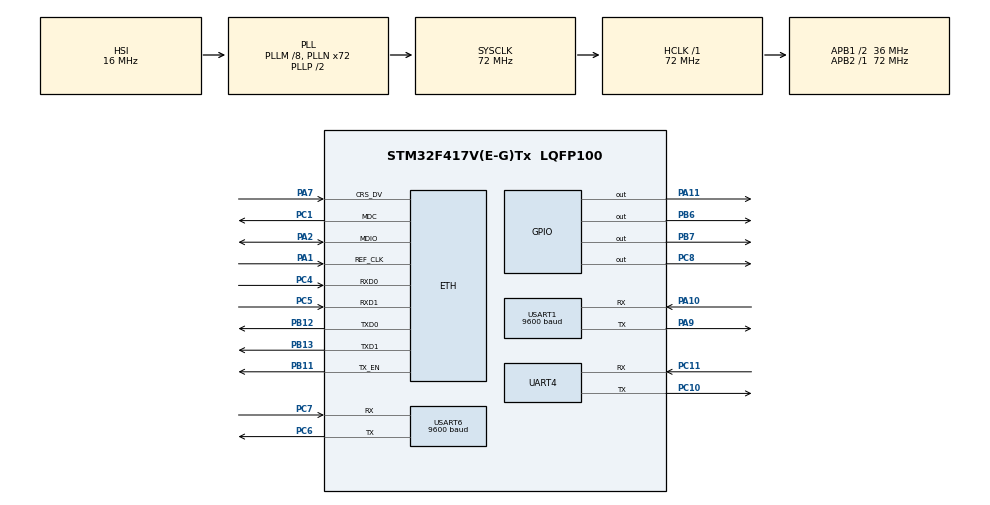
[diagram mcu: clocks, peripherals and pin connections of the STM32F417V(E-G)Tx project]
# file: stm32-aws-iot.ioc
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ETH.MediaInterface=ETH_MEDIA_INTERFACE_RMII
FREERTOS.Tasks01=defaultTask,0,1000,StartDefaultTask,Default,NULL,Static,defaultTaskBuffer,defaultTaskControlBlock
FREERTOS.configMINIMAL_STACK_SIZE=256
FREERTOS.configTOTAL_HEAP_SIZE=7000
LWIP.IP_ADDRESS=192.168.000.123
LWIP.LWIP_DHCP=1
LWIP.LWIP_NETIF_LINK_CALLBACK=1
LWIP.LWIP_SO_RCVBUF=1
LWIP.MEM_SIZE=4096
LWIP.NETMASK_ADDRESS=255.255.255.000
LWIP.PBUF_POOL_BUFSIZE=592
LWIP.TCP_CALCULATE_EFF_SEND_MSS=1
LWIP.TCP_MSS=1460
LWIP.Version=v2.0.3_Cube
MBEDTLS.MBEDTLS_KEY_EXCHANGE_ECDHE_PSK_ENABLED=1
MBEDTLS.MBEDTLS_KEY_EXCHANGE_ECDH_ECDSA_ENABLED=1
MBEDTLS.MBEDTLS_KEY_EXCHANGE_ECDH_RSA_ENABLED=1
MBEDTLS.MBEDTLS_KEY_EXCHANGE_PSK_ENABLED=1
MBEDTLS.MBEDTLS_MPI_MAX_SIZE=256
MBEDTLS.MBEDTLS_RSA_C=1
MBEDTLS.MBEDTLS_SSL_CIPHERSUITES=MBEDTLS_TLS_ECDHE_ECDSA_WITH_AES_256_GCM_SHA384,MBEDTLS_TLS_ECDHE_ECDSA_WITH_AES_128_GCM_SHA256,MBEDTLS_TLS_ECDHE_RSA_WITH_AES_128_GCM_SHA256
MBEDTLS.MBEDTLS_SSL_MAX_CONTENT_LEN=8196
Mcu.Family=STM32F4
Mcu.Name=STM32F417V(E-G)Tx
Mcu.Package=LQFP100
NVIC.ETH_IRQn=true\:5\:0\:false\:false\:true\:true\:false\:true
NVIC.PriorityGroup=NVIC_PRIORITYGROUP_4
NVIC.TIM6_DAC_IRQn=true\:0\:0\:false\:false\:true\:false\:false\:true
NVIC.TIM7_IRQn=true\:5\:0\:false\:false\:true\:true\:true\:true
NVIC.TimeBase=TIM6_DAC_IRQn
NVIC.TimeBaseIP=TIM6
NVIC.USART1_IRQn=true\:5\:0\:false\:false\:true\:true\:true\:true
NVIC.USART6_IRQn=true\:5\:0\:false\:false\:true\:true\:true\:true
PA1.Mode=RMII
PA1.Signal=ETH_REF_CLK
PA10.Mode=Asynchronous
PA10.Signal=USART1_RX
PA11.Signal=GPIO_Output
PA13.Mode=Serial_Wire
PA13.Signal=SYS_JTMS-SWDIO
PA14.Mode=Serial_Wire
PA14.Signal=SYS_JTCK-SWCLK
PA2.Mode=RMII
PA2.Signal=ETH_MDIO
PA7.Mode=RMII
PA7.Signal=ETH_CRS_DV
PA9.Mode=Asynchronous
PA9.Signal=USART1_TX
PB11.Mode=RMII
PB11.Signal=ETH_TX_EN
PB12.Mode=RMII
PB12.Signal=ETH_TXD0
PB13.Mode=RMII
PB13.Signal=ETH_TXD1
PB6.Signal=GPIO_Output
PB7.Signal=GPIO_Output
PC1.Mode=RMII
PC1.Signal=ETH_MDC
PC10.Mode=Asynchronous
PC10.Signal=UART4_TX
PC11.Mode=Asynchronous
PC11.Signal=UART4_RX
PC4.Mode=RMII
PC4.Signal=ETH_RXD0
PC5.Mode=RMII
PC5.Signal=ETH_RXD1
PC6.Mode=Asynchronous
PC6.Signal=USART6_TX
PC7.Mode=Asynchronous
PC7.Signal=USART6_RX
PC8.Signal=GPIO_Output
PH0-OSC_IN.Mode=HSE-External-Oscillator
PH0-OSC_IN.Signal=RCC_OSC_IN
PH1-OSC_OUT.Mode=HSE-External-Oscillator
PH1-OSC_OUT.Signal=RCC_OSC_OUT
ProjectManager.HeapSize=0x100
ProjectManager.StackSize=0x100
ProjectManager.TargetToolchain=STM32CubeIDE
RCC.48MHZClocksFreq_Value=48000000
RCC.AHBFreq_Value=72000000
RCC.APB1CLKDivider=RCC_HCLK_DIV2
RCC.APB1Freq_Value=36000000
RCC.APB1TimFreq_Value=72000000
RCC.APB2Freq_Value=72000000
RCC.APB2TimFreq_Value=72000000
RCC.CortexFreq_Value=72000000
RCC.HCLKFreq_Value=72000000
RCC.HSE_VALUE=8000000
RCC.HSI_VALUE=16000000
RCC.LSE_VALUE=32768
RCC.PLLM=8
RCC.PLLN=72
RCC.PLLQ=3
RCC.SYSCLKFreq_VALUE=72000000
RCC.SYSCLKSource=RCC_SYSCLKSOURCE_PLLCLK
RCC.VCOOutputFreq_Value=144000000
TIM7.AutoReloadPreload=TIM_AUTORELOAD_PRELOAD_ENABLE
TIM7.Period=49
TIM7.Prescaler=83
UART4.VirtualMode=Asynchronous
USART1.BaudRate=9600
USART1.VirtualMode=VM_ASYNC
USART6.BaudRate=9600
USART6.VirtualMode=VM_ASYNC
VP_FREERTOS_VS_CMSIS_V1.Mode=CMSIS_V1
VP_LWIP_VS_Enabled.Mode=Enabled
VP_MBEDTLS_VS_MBEDTLS.Mode=Enabled
VP_RNG_VS_RNG.Mode=RNG_Activate
VP_SYS_VS_tim6.Mode=TIM6
VP_TIM7_VS_ClockSourceINT.Mode=Enable_Timer
board=custom

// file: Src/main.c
/* USER CODE BEGIN Header */
/**
  ******************************************************************************
  * @file           : main.c
  * @brief          : Main program body
  ******************************************************************************
  * @attention
  *
  * <h2><center>&copy; Copyright (c) 2019 STMicroelectronics.
  * All rights reserved.</center></h2>
  *
  * This software component is licensed by ST under BSD 3-Clause license,
  * the "License"; You may not use this file except in compliance with the
  * License. You may obtain a copy of the License at:
  *                        opensource.org/licenses/BSD-3-Clause
  *
  ******************************************************************************
  */
/* USER CODE END Header */

#include "main.h"
#include "cmsis_os.h"
#include "mbedtls.h"
#include "rng.h"
#include "tim.h"
#include "usart.h"
#include "gpio.h"

/* USER CODE BEGIN Includes */
#include "String.h"
#include "lwip.h"
#include "lwip/opt.h"
#include "lwip/arch.h"
#include "lwip/api.h"
#include "lwip/inet.h"
#include "lwip/sockets.h"
/* USER CODE END Includes */

/* USER CODE BEGIN PV */

extern uint32_t MilliTimer;

/* USER CODE END PV */

void SystemClock_Config(void);
void MX_FREERTOS_Init(void);
/* USER CODE BEGIN PFP */

void sendOneByte();

/* USER CODE END PFP */

/* USER CODE BEGIN 0 */
int _write(int file, char *ptr, int len)
{
	int DataIdx;

	for (DataIdx = 0; DataIdx <  len; DataIdx++)
	{
		ITM_SendChar(*ptr++);
	}
	return len;
}

/* USER CODE END 0 */

int main(void)
{

  /* MCU Configuration--------------------------------------------------------*/

  /* Reset of all peripherals, Initializes the Flash interface and the Systick. */
  HAL_Init();

  /* Configure the system clock */
  SystemClock_Config();

  /* Initialize all configured peripherals */
  MX_GPIO_Init();
  MX_UART4_Init();
  MX_USART1_UART_Init();
  MX_USART6_UART_Init();
  MX_TIM7_Init();
  MX_RNG_Init();
  /* USER CODE BEGIN 2 */
  printf("Don't remove this printf to prevent hard fault.\r\n");
  HAL_TIM_Base_Start_IT(&htim7);
  //HAL_UART_Receive_IT(&huart6, &responseData_Uart6, 1);

  // HAL_GPIO_WritePin(GPIOB, GPIO_PIN_6, GPIO_PIN_SET);	// Power Red
  // HAL_GPIO_WritePin(GPIOB, GPIO_PIN_7, GPIO_PIN_SET);	// Ethernet Green
  /* USER CODE END 2 */

  /* Call init function for freertos objects (in freertos.c) */
  MX_FREERTOS_Init();

  /* Start scheduler */
  osKernelStart();

  /* We should never get here as control is now taken by the scheduler */

  /* Infinite loop */
  /* USER CODE BEGIN WHILE */

  while (1)
  {
	  osDelay(100);
    /* USER CODE END WHILE */

  }
}

void SystemClock_Config(void)
{
  RCC_OscInitTypeDef RCC_OscInitStruct = {0};
  RCC_ClkInitTypeDef RCC_ClkInitStruct = {0};

  /** Configure the main internal regulator output voltage
  */
  __HAL_RCC_PWR_CLK_ENABLE();
  __HAL_PWR_VOLTAGESCALING_CONFIG(PWR_REGULATOR_VOLTAGE_SCALE1);
  /** Initializes the CPU, AHB and APB busses clocks
  */
  RCC_OscInitStruct.OscillatorType = RCC_OSCILLATORTYPE_HSI;
  RCC_OscInitStruct.HSIState = RCC_HSI_ON;
  RCC_OscInitStruct.HSICalibrationValue = RCC_HSICALIBRATION_DEFAULT;
  RCC_OscInitStruct.PLL.PLLState = RCC_PLL_ON;
  RCC_OscInitStruct.PLL.PLLSource = RCC_PLLSOURCE_HSI;
  RCC_OscInitStruct.PLL.PLLM = 8;
  RCC_OscInitStruct.PLL.PLLN = 72;
  RCC_OscInitStruct.PLL.PLLP = RCC_PLLP_DIV2;
  RCC_OscInitStruct.PLL.PLLQ = 3;
  if (HAL_RCC_OscConfig(&RCC_OscInitStruct) != HAL_OK)
  {
    Error_Handler();
  }
  /** Initializes the CPU, AHB and APB busses clocks
  */
  RCC_ClkInitStruct.ClockType = RCC_CLOCKTYPE_HCLK|RCC_CLOCKTYPE_SYSCLK
                              |RCC_CLOCKTYPE_PCLK1|RCC_CLOCKTYPE_PCLK2;
  RCC_ClkInitStruct.SYSCLKSource = RCC_SYSCLKSOURCE_PLLCLK;
  RCC_ClkInitStruct.AHBCLKDivider = RCC_SYSCLK_DIV1;
  RCC_ClkInitStruct.APB1CLKDivider = RCC_HCLK_DIV2;
  RCC_ClkInitStruct.APB2CLKDivider = RCC_HCLK_DIV1;

  if (HAL_RCC_ClockConfig(&RCC_ClkInitStruct, FLASH_LATENCY_2) != HAL_OK)
  {
    Error_Handler();
  }
}

/* USER CODE BEGIN 4 */
/**
  * @brief  Period elapsed callback in non blocking mode
  * @note   This function is called  when TIM6 interrupt took place, inside
  * HAL_TIM_IRQHandler(). It makes a direct call to HAL_IncTick() to increment
  * a global variable "uwTick" used as application time base.
  * @param  htim : TIM handle
  * @retval None
  */
//void HAL_TIM_PeriodElapsedCallback(TIM_HandleTypeDef *htim)
//{
//  /* USER CODE BEGIN Callback 0 */
//
//  /* USER CODE END Callback 0 */
//  if (htim->Instance == TIM6) {
//    HAL_IncTick();
//  }
//  /* USER CODE BEGIN Callback 1 */
//  if (htim->Instance == TIM6) {
//    MilliTimer++;
//  }
//
//  /* USER CODE END Callback 1 */
//}

/* PrintF Setting BEGIN */
#if (defined(__GNUC__) && !defined(__CC_ARM))
#define PUTCHAR_PROTOTYPE int __io_putchar(int ch)
#define GETCHAR_PROTOTYPE int __io_getchar(void)
#else
#define PUTCHAR_PROTOTYPE int fputc(int ch, FILE *f)
#define GETCHAR_PROTOTYPE int fgetc(FILE *f)
#endif /* __GNUC__ */

PUTCHAR_PROTOTYPE
{
  while (HAL_OK != HAL_UART_Transmit(&huart4, (uint8_t *) &ch, 1, 30000))
  {
    ;
  }
  return ch;
}

GETCHAR_PROTOTYPE
{
  uint8_t ch = 0;
  while (HAL_OK != HAL_UART_Receive(&huart4, (uint8_t *)&ch, 1, 30000))
  {
    ;
  }
  return ch;
}
/* PrintF Setting END */

/* USER CODE END 4 */

void HAL_TIM_PeriodElapsedCallback(TIM_HandleTypeDef *htim)
{
  /* USER CODE BEGIN Callback 0 */
//
  /* USER CODE END Callback 0 */
  if (htim->Instance == TIM6) {
    HAL_IncTick();
  }
  /* USER CODE BEGIN Callback 1 */
//  if (htim->Instance == TIM6) {
//    MilliTimer++;
//  }
//
  /* USER CODE END Callback 1 */
}

void Error_Handler(void)
{
}

/************************ (C) COPYRIGHT STMicroelectronics *****END OF FILE****/

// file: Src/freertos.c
/* USER CODE BEGIN Header */
/**
  ******************************************************************************
  * File Name          : freertos.c
  * Description        : Code for freertos applications
  ******************************************************************************
  * @attention
  *
  * <h2><center>&copy; Copyright (c) 2019 STMicroelectronics.
  * All rights reserved.</center></h2>
  *
  * This software component is licensed by ST under Ultimate Liberty license
  * SLA0044, the "License"; You may not use this file except in compliance with
  * the License. You may obtain a copy of the License at:
  *                             www.st.com/SLA0044
  *
  ******************************************************************************
  */
/* USER CODE END Header */

#include "FreeRTOS.h"
#include "task.h"
#include "main.h"
#include "cmsis_os.h"

/* USER CODE BEGIN Includes */
#include "lwip.h"
#include "lwip/api.h"
#include "mqtt_task.h"

/* USER CODE END Includes */

/* USER CODE BEGIN Variables */
extern struct netif gnetif; //extern gnetif

osThreadId mqttClientSubTaskHandle;  //mqtt client task handle
osThreadId mqttClientPubTaskHandle;  //mqtt client task handle

/* USER CODE END Variables */
osThreadId defaultTaskHandle;
uint32_t defaultTaskBuffer[ 1000 ];
osStaticThreadDef_t defaultTaskControlBlock;

/* USER CODE BEGIN FunctionPrototypes */
//void MqttClientSubTask(void const *argument); //mqtt client subscribe task function
//void MqttClientPubTask(void const *argument); //mqtt client publish task function
int  MqttConnectBroker(void); 				//mqtt broker connect function
void MqttMessageArrived(MessageData* msg); //mqtt message callback function
/* USER CODE END FunctionPrototypes */

void StartDefaultTask(void const * argument);

extern void MX_LWIP_Init(void);
extern void MX_MBEDTLS_Init(void);
void MX_FREERTOS_Init(void); /* (MISRA C 2004 rule 8.1) */

/* GetIdleTaskMemory prototype (linked to static allocation support) */
void vApplicationGetIdleTaskMemory( StaticTask_t **ppxIdleTaskTCBBuffer, StackType_t **ppxIdleTaskStackBuffer, uint32_t *pulIdleTaskStackSize );

/* USER CODE BEGIN GET_IDLE_TASK_MEMORY */
static StaticTask_t xIdleTaskTCBBuffer;
static StackType_t xIdleStack[configMINIMAL_STACK_SIZE];

void vApplicationGetIdleTaskMemory( StaticTask_t **ppxIdleTaskTCBBuffer, StackType_t **ppxIdleTaskStackBuffer, uint32_t *pulIdleTaskStackSize )
{
  *ppxIdleTaskTCBBuffer = &xIdleTaskTCBBuffer;
  *ppxIdleTaskStackBuffer = &xIdleStack[0];
  *pulIdleTaskStackSize = configMINIMAL_STACK_SIZE;
  /* place for user code */
}
/* USER CODE END GET_IDLE_TASK_MEMORY */

void MX_FREERTOS_Init(void) {

  /* Create the thread(s) */
  /* definition and creation of defaultTask */
  osThreadStaticDef(defaultTask, StartDefaultTask, osPriorityNormal, 0, 1000, defaultTaskBuffer, &defaultTaskControlBlock);
  defaultTaskHandle = osThreadCreate(osThread(defaultTask), NULL);

}

void StartDefaultTask(void const * argument)
{

  /* MX_LWIP_Init() is generated within mbedtls_net_init() function in net_cockets.c file */
  /* Up to user to call mbedtls_net_init() function in MBEDTLS initialization step */

  /* Up to user define the empty MX_MBEDTLS_Init() function located in mbedtls.c file */

  /* USER CODE BEGIN StartDefaultTask */
	MX_LWIP_Init();

	while(1)
	{
		//waiting for valid ip address
		if (gnetif.ip_addr.addr == 0 || gnetif.netmask.addr == 0 || gnetif.gw.addr == 0) //system has no valid ip address
		{
			osDelay(1000);
			continue;
		}
		else
		{
			printf("DHCP/Static IP O.K.\n");
			break;
		}
	}

	MqttConnectBroker();

	// osThreadDef(mqttClientSubTask, MqttClientSubTask, osPriorityNormal, 0, configMINIMAL_STACK_SIZE*4); //subscribe task
	// osThreadDef(mqttClientPubTask, MqttClientPubTask, osPriorityNormal, 0, configMINIMAL_STACK_SIZE*4); //publish task
	// mqttClientSubTaskHandle = osThreadCreate(osThread(mqttClientSubTask), NULL);
	// mqttClientPubTaskHandle = osThreadCreate(osThread(mqttClientPubTask), NULL);

	/* Infinite loop */
	for(;;)
	{
		// HAL_GPIO_TogglePin(LED_GREEN_GPIO_Port, LED_GREEN_Pin); //toggle running led
		osDelay(500);
	}
  /* USER CODE END StartDefaultTask */
}

/************************ (C) COPYRIGHT STMicroelectronics *****END OF FILE****/
